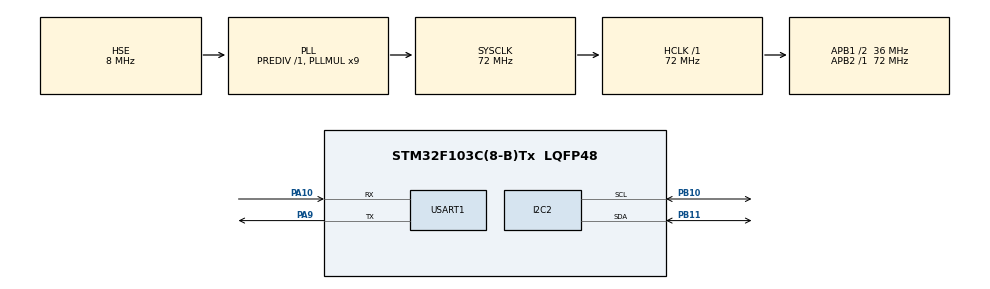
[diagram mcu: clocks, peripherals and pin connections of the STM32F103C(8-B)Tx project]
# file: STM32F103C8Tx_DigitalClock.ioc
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Mcu.Family=STM32F1
Mcu.Name=STM32F103C(8-B)Tx
Mcu.Package=LQFP48
NVIC.PriorityGroup=NVIC_PRIORITYGROUP_4
PA10.Mode=Asynchronous
PA10.Signal=USART1_RX
PA13.Mode=Serial_Wire
PA13.Signal=SYS_JTMS-SWDIO
PA14.Mode=Serial_Wire
PA14.Signal=SYS_JTCK-SWCLK
PA9.Mode=Asynchronous
PA9.Signal=USART1_TX
PB10.Mode=I2C
PB10.Signal=I2C2_SCL
PB11.Mode=I2C
PB11.Signal=I2C2_SDA
PD0-OSC_IN.Mode=HSE-External-Oscillator
PD0-OSC_IN.Signal=RCC_OSC_IN
PD1-OSC_OUT.Mode=HSE-External-Oscillator
PD1-OSC_OUT.Signal=RCC_OSC_OUT
ProjectManager.HeapSize=0x200
ProjectManager.StackSize=0x400
ProjectManager.TargetToolchain=Makefile
RCC.AHBFreq_Value=72000000
RCC.APB1CLKDivider=RCC_HCLK_DIV2
RCC.APB1Freq_Value=36000000
RCC.APB1TimFreq_Value=72000000
RCC.APB2Freq_Value=72000000
RCC.APB2TimFreq_Value=72000000
RCC.HCLKFreq_Value=72000000
RCC.PLLMUL=RCC_PLL_MUL9
RCC.PLLSourceVirtual=RCC_PLLSOURCE_HSE
RCC.SYSCLKFreq_VALUE=72000000
RCC.SYSCLKSource=RCC_SYSCLKSOURCE_PLLCLK
RCC.USBFreq_Value=72000000
USART1.VirtualMode=VM_ASYNC
board=custom

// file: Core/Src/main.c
/* USER CODE BEGIN Header */
/**
 ******************************************************************************
 * @file           : main.c
 * @brief          : Main program body
 ******************************************************************************
 * @attention
 *
 * Copyright (c) 2022 STMicroelectronics.
 * All rights reserved.
 *
 * This software is licensed under terms that can be found in the LICENSE file
 * in the root directory of this software component.
 * If no LICENSE file comes with this software, it is provided AS-IS.
 *
 ******************************************************************************
 */
/* USER CODE END Header */
#include "main.h"

/* USER CODE BEGIN Includes */
#include "pca9685.h"
#include "DS3231.h"

// #include "stm32f1xx_hal.c"
// #include <stdint.h>
// #include <stm32f1xx.h>
// #include <stm32f1xx_hal.h>
// #include <stm32f1xx_hal_gpio.h>

/* USER CODE END Includes */

I2C_HandleTypeDef hi2c2;

UART_HandleTypeDef huart1;

void SystemClock_Config(void);
static void MX_GPIO_Init(void);
static void MX_I2C2_Init(void);
static void MX_USART1_UART_Init(void);
/* USER CODE BEGIN PFP */

#include <stdio.h>
#ifdef __GNUC__
#define PUTCHAR_PROTOTYPE int __io_putchar(int ch)
PUTCHAR_PROTOTYPE
{

    HAL_UART_Transmit(&huart1, (uint8_t *)&ch, 1, HAL_MAX_DELAY);
    return ch;
}
int _write(int file, char *ptr, int len)
{
    int DataIdx;
    for (DataIdx = 0; DataIdx < len; DataIdx++)
    {
        __io_putchar(*ptr++);
    }
    return len;
}

#else
#define PUTCHAR_PROTOTYPE int fputc(int ch, FILE *f)
PUTCHAR_PROTOTYPE
{
    HAL_UART_Transmit(&huart1, (uint8_t *)&ch, 1, 0xFFFF);
    return ch;
}
#endif

void printr(uint8_t reg)
{
    printf("Reg 0x%02x = ", reg);
    uint8_t val;
    HAL_I2C_Master_Transmit(_ds3231_ui2c, DS3231_I2C_ADDR << 1, &reg, 1,
                            DS3231_TIMEOUT);
    HAL_StatusTypeDef s = HAL_I2C_Master_Receive(_ds3231_ui2c,
                                                 DS3231_I2C_ADDR << 1, &val, 1, DS3231_TIMEOUT);
    for (uint8_t i = 0; i < 8; i++)
    {
        printf("%d", (val >> (7 - i)) & 1);
    }
    printf(" With status %d", s);
    printf("\n");
}

/* USER CODE END PFP */

/* USER CODE BEGIN 0 */
// const int SEGMENT_INTERVALS[7][2] = {
//     /*
//         0
//     1       2
//         3
//     4       5
//         6
//     */
//     {110, 180}, // 0
//     {110, 180}, // 1
//     {10, 110},  // 2
//     {110, 180}, // 3
//     {10, 110},  // 4
//     {110, 180}, // 5
//     {110, 180}, // 6

// };
// int min, max;
// min, max = SEGMENT_INTERVALS[Channel];

const int COLON_INTERVAL[2][2] = {
    {141, 62},
    {137, 30},
};

// const int DIGIT_STARTING_SEGMENT_INDEX[4] = {2, 9, 22, 29};
// const int DIGIT_STARTING_SEGMENT_INDEX[4] = {0, 9, 22, 29};
const int COLON_STARTING_INDEX = 16;

const int START_POS = 0;
const int COLON = 2;
const int DIGITS = 4;
const int SEGMENTS_PER_DIGIT = 7;
const int STEP_MS = 20;
const int COUNT_MS = 2000;
const int NUM_SERVOS = DIGITS * SEGMENTS_PER_DIGIT;

const uint8_t DIGIT_TO_SEGMENT_MAPPING[10][7] = {
    //     /*
    //         0
    //     1       2
    //         3
    //     4       5
    //         6
    //     */
    /*      0  1  2  3  4  5  6     */
    {1, 1, 1, 0, 1, 1, 1}, // 0
    {0, 0, 1, 0, 0, 1, 0}, // 1
    {1, 0, 1, 1, 1, 0, 1}, // 2
    {1, 0, 1, 1, 0, 1, 1}, // 3
    {0, 1, 1, 1, 0, 1, 0}, // 4
    {1, 1, 0, 1, 0, 1, 1}, // 5
    {1, 1, 0, 1, 1, 1, 1}, // 6
    {1, 0, 1, 0, 0, 1, 0}, // 7
    {1, 1, 1, 1, 1, 1, 1}, // 8
    {1, 1, 1, 1, 0, 1, 1}  // 9
};

// int servoTargetDestination[DIGITS][NUM_SERVOS];
// int servoTargetDestinationColon[COLON];

int count = 1200;
int timeMS = 0;

void printNum(uint8_t DevAddress, uint8_t date)
{
    uint8_t tmpNum = 0;
    uint8_t tmpDate = 0;
    uint8_t tmpServo = 0;

    for (uint8_t i = 0; i < 2; i++)
    {
        for (uint8_t num = 0; num < SEGMENTS_PER_DIGIT; num++)
        {
            tmpDate = num;
            if (i == 0)
            {
                tmpNum = date / 10 % 10;
                tmpServo = num;
            }
            if (i == 1)
            {
                tmpNum = date / 1 % 10;
                tmpServo = num + 7;
            }
            // tmp 要显示的数字
            PCA9685_SetServoStat(DevAddress, tmpServo, DIGIT_TO_SEGMENT_MAPPING[tmpNum][tmpDate]);

            // int displayNumber = stringCount.charAt(timeString.length() - 1 - activeDigit) - '0';
            // int placement = (activeDigit == 3 && displayNumber == 0) ? 0 : DIGIT_TO_SEGMENT_MAPPING[displayNumber][i];
            // servoTargetDestination[activeDigit][i] = SEGMENT_INTERVALS[activeDigit][i][placement];
        }
    }
}

// #include <stdlib.h>
// Driver

/* USER CODE END 0 */

int main(void)
{

    /* MCU Configuration--------------------------------------------------------*/

    /* Reset of all peripherals, Initializes the Flash interface and the Systick. */
    HAL_Init();

    /* Configure the system clock */
    SystemClock_Config();

    /* Initialize all configured peripherals */
    MX_GPIO_Init();
    MX_I2C2_Init();
    MX_USART1_UART_Init();
    /* USER CODE BEGIN 2 */
    // uint32_t TimerUART = HAL_GetTick();

    /* USER CODE END 2 */

    /* Infinite loop */
    /* USER CODE BEGIN WHILE */

    // DS3231 init function. Pass I2C handle.
    DS3231_Init(&hi2c2);

    /* set times */
    // // Disable interrupts while we set interrupt configs.
    // __disable_irq();
    // // Set interrupt mode to square wave mode, enable square wave interrupt at pin 3.
    // DS3231_SetInterruptMode(DS3231_SQUARE_WAVE_INTERRUPT);
    // // Set interrupting frequency to 1 Hz.
    // DS3231_SetRateSelect(DS3231_1HZ);
    // // Set time.
    // DS3231_SetFullTime(20, 18, 30);
    // // Set date.
    // DS3231_SetFullDate(2022, 10, 23, 7);
    // // Print all register values, for demonstration purpose
    // for (uint8_t i = 0x00; i < 0x13; i++)
    //     printr(i);
    // // Enable interrupts after finishing.
    // __enable_irq();

    // // Should show 5 interrupts, once every second.

    // First Set Hour
    PCA9685_Init(SERVO_LEFT, &hi2c2);
    printNum(SERVO_LEFT, DS3231_GetHour());
    HAL_Delay(1 * 1000);
    PCA9685_Init(SERVO_RIGHT, &hi2c2);
    printNum(SERVO_RIGHT, DS3231_GetMinute());
    HAL_Delay(3 * 1 * 1000);
    // Info Main Date
    uint8_t timeMinute = 00;
    while (1)
    {
        timeMinute = DS3231_GetMinute();
        printf("Date: %.2x/%.2x/%.2x - %.2x:%.2x:%.2x - Week:%.2x\r\n",
               DS3231_GetYear(),
               DS3231_GetMonth(),
               DS3231_GetDate(),
               DS3231_GetHour(),
               DS3231_GetMinute(),
               DS3231_GetSecond(),
               DS3231_GetDayOfWeek());
        if (timeMinute == 0 || timeMinute == 00)
        {
            // hour
            PCA9685_Init(SERVO_LEFT, &hi2c2);
            printNum(SERVO_LEFT, DS3231_GetHour());
            HAL_Delay(1 * 1000);
            // minute
            PCA9685_Init(SERVO_RIGHT, &hi2c2);
        }
        else
        {
            printNum(SERVO_RIGHT, timeMinute);
            HAL_Delay(1 * 1000);
        }
        // sleep 59s
        /* USER CODE END WHILE */

    }
}

void SystemClock_Config(void)
{
    RCC_OscInitTypeDef RCC_OscInitStruct = {0};
    RCC_ClkInitTypeDef RCC_ClkInitStruct = {0};

    /** Initializes the RCC Oscillators according to the specified parameters
     * in the RCC_OscInitTypeDef structure.
     */
    RCC_OscInitStruct.OscillatorType = RCC_OSCILLATORTYPE_HSE;
    RCC_OscInitStruct.HSEState = RCC_HSE_ON;
    RCC_OscInitStruct.HSEPredivValue = RCC_HSE_PREDIV_DIV1;
    RCC_OscInitStruct.HSIState = RCC_HSI_ON;
    RCC_OscInitStruct.PLL.PLLState = RCC_PLL_ON;
    RCC_OscInitStruct.PLL.PLLSource = RCC_PLLSOURCE_HSE;
    RCC_OscInitStruct.PLL.PLLMUL = RCC_PLL_MUL9;
    if (HAL_RCC_OscConfig(&RCC_OscInitStruct) != HAL_OK)
    {
        Error_Handler();
    }

    /** Initializes the CPU, AHB and APB buses clocks
     */
    RCC_ClkInitStruct.ClockType = RCC_CLOCKTYPE_HCLK | RCC_CLOCKTYPE_SYSCLK | RCC_CLOCKTYPE_PCLK1 | RCC_CLOCKTYPE_PCLK2;
    RCC_ClkInitStruct.SYSCLKSource = RCC_SYSCLKSOURCE_PLLCLK;
    RCC_ClkInitStruct.AHBCLKDivider = RCC_SYSCLK_DIV1;
    RCC_ClkInitStruct.APB1CLKDivider = RCC_HCLK_DIV2;
    RCC_ClkInitStruct.APB2CLKDivider = RCC_HCLK_DIV1;

    if (HAL_RCC_ClockConfig(&RCC_ClkInitStruct, FLASH_LATENCY_2) != HAL_OK)
    {
        Error_Handler();
    }
}

static void MX_I2C2_Init(void)
{

    hi2c2.Instance = I2C2;
    hi2c2.Init.ClockSpeed = 100000;
    hi2c2.Init.DutyCycle = I2C_DUTYCYCLE_2;
    hi2c2.Init.OwnAddress1 = 0;
    hi2c2.Init.AddressingMode = I2C_ADDRESSINGMODE_7BIT;
    hi2c2.Init.DualAddressMode = I2C_DUALADDRESS_DISABLE;
    hi2c2.Init.OwnAddress2 = 0;
    hi2c2.Init.GeneralCallMode = I2C_GENERALCALL_DISABLE;
    hi2c2.Init.NoStretchMode = I2C_NOSTRETCH_DISABLE;
    if (HAL_I2C_Init(&hi2c2) != HAL_OK)
    {
        Error_Handler();
    }
}

static void MX_USART1_UART_Init(void)
{

    huart1.Instance = USART1;
    huart1.Init.BaudRate = 115200;
    huart1.Init.WordLength = UART_WORDLENGTH_8B;
    huart1.Init.StopBits = UART_STOPBITS_1;
    huart1.Init.Parity = UART_PARITY_NONE;
    huart1.Init.Mode = UART_MODE_TX_RX;
    huart1.Init.HwFlowCtl = UART_HWCONTROL_NONE;
    huart1.Init.OverSampling = UART_OVERSAMPLING_16;
    if (HAL_UART_Init(&huart1) != HAL_OK)
    {
        Error_Handler();
    }
}

static void MX_GPIO_Init(void)
{

    /* GPIO Ports Clock Enable */
    __HAL_RCC_GPIOD_CLK_ENABLE();
    __HAL_RCC_GPIOB_CLK_ENABLE();
    __HAL_RCC_GPIOA_CLK_ENABLE();
}

void Error_Handler(void)
{
    __disable_irq();
    while (1)
    {
    }
}
